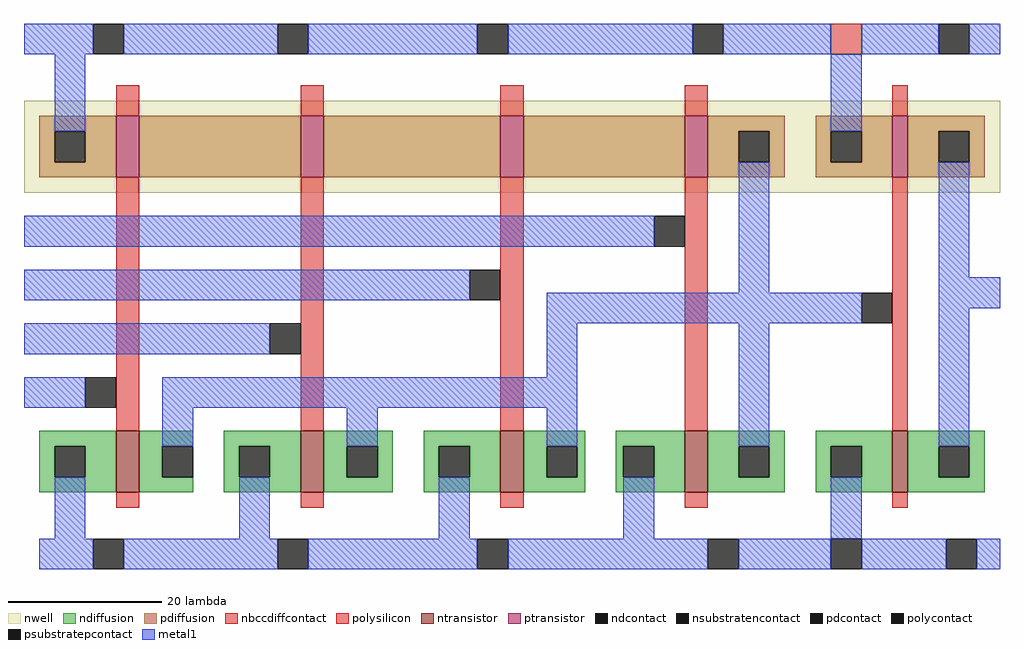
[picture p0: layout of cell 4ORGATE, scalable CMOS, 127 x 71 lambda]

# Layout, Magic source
magic
tech scmos
<< nwell >>
rect -66 49 61 61
<< polysilicon >>
rect -54 59 -51 63
rect -30 59 -27 63
rect -4 59 -1 63
rect 20 59 23 63
rect 47 59 49 63
rect -54 18 -51 51
rect -30 18 -27 51
rect -4 18 -1 51
rect 20 18 23 51
rect 47 18 49 51
rect -54 8 -51 10
rect -30 8 -27 10
rect -4 8 -1 10
rect 20 8 23 10
rect 47 8 49 10
<< ndiffusion >>
rect -64 16 -54 18
rect -64 12 -62 16
rect -58 12 -54 16
rect -64 10 -54 12
rect -51 16 -44 18
rect -51 12 -48 16
rect -51 10 -44 12
rect -40 16 -30 18
rect -40 12 -38 16
rect -34 12 -30 16
rect -40 10 -30 12
rect -27 16 -18 18
rect -27 12 -24 16
rect -20 12 -18 16
rect -27 10 -18 12
rect -14 16 -4 18
rect -14 12 -12 16
rect -8 12 -4 16
rect -14 10 -4 12
rect -1 16 7 18
rect -1 12 2 16
rect 6 12 7 16
rect -1 10 7 12
rect 11 16 20 18
rect 11 12 12 16
rect 16 12 20 16
rect 11 10 20 12
rect 23 16 33 18
rect 23 12 27 16
rect 31 12 33 16
rect 23 10 33 12
rect 37 16 47 18
rect 37 12 39 16
rect 43 12 47 16
rect 37 10 47 12
rect 49 16 59 18
rect 49 12 53 16
rect 57 12 59 16
rect 49 10 59 12
<< pdiffusion >>
rect -64 57 -54 59
rect -64 53 -62 57
rect -58 53 -54 57
rect -64 51 -54 53
rect -51 51 -30 59
rect -27 51 -4 59
rect -1 51 20 59
rect 23 57 33 59
rect 23 53 27 57
rect 31 53 33 57
rect 23 51 33 53
rect 37 57 47 59
rect 37 53 39 57
rect 43 53 47 57
rect 37 51 47 53
rect 49 57 59 59
rect 49 53 53 57
rect 57 53 59 57
rect 49 51 59 53
<< metal1 >>
rect -66 67 -57 71
rect -53 67 -33 71
rect -29 67 -7 71
rect -3 67 21 71
rect 25 67 39 71
rect 43 67 53 71
rect 57 67 61 71
rect -62 57 -58 67
rect 39 57 43 67
rect -66 42 16 46
rect -66 35 -8 39
rect 27 36 31 53
rect 53 38 57 53
rect 2 32 43 36
rect 53 34 61 38
rect -66 28 -34 32
rect 2 25 6 32
rect -66 21 -58 25
rect -48 21 6 25
rect -48 16 -44 21
rect -24 16 -20 21
rect 2 16 6 21
rect 27 16 31 32
rect 53 16 57 34
rect -62 4 -58 12
rect -38 4 -34 12
rect -12 4 -8 12
rect 12 4 16 12
rect 39 4 43 12
rect -64 0 -57 4
rect -53 0 -33 4
rect -29 0 -7 4
rect -3 0 23 4
rect 27 0 39 4
rect 43 0 54 4
rect 58 0 61 4
<< ntransistor >>
rect -54 10 -51 18
rect -30 10 -27 18
rect -4 10 -1 18
rect 20 10 23 18
rect 47 10 49 18
<< ptransistor >>
rect -54 51 -51 59
rect -30 51 -27 59
rect -4 51 -1 59
rect 20 51 23 59
rect 47 51 49 59
<< polycontact >>
rect -58 21 -54 25
rect -34 28 -30 32
rect -8 35 -4 39
rect 16 42 20 46
rect 43 32 47 36
<< ndcontact >>
rect -62 12 -58 16
rect -48 12 -44 16
rect -38 12 -34 16
rect -24 12 -20 16
rect -12 12 -8 16
rect 2 12 6 16
rect 12 12 16 16
rect 27 12 31 16
rect 39 12 43 16
rect 53 12 57 16
<< pdcontact >>
rect -62 53 -58 57
rect 27 53 31 57
rect 39 53 43 57
rect 53 53 57 57
<< nbccdiffcontact >>
rect 39 67 43 71
<< psubstratepcontact >>
rect -57 0 -53 4
rect -33 0 -29 4
rect -7 0 -3 4
rect 23 0 27 4
rect 39 0 43 4
rect 54 0 58 4
<< nsubstratencontact >>
rect -57 67 -53 71
rect -33 67 -29 71
rect -7 67 -3 71
rect 21 67 25 71
rect 53 67 57 71
<< end >>
